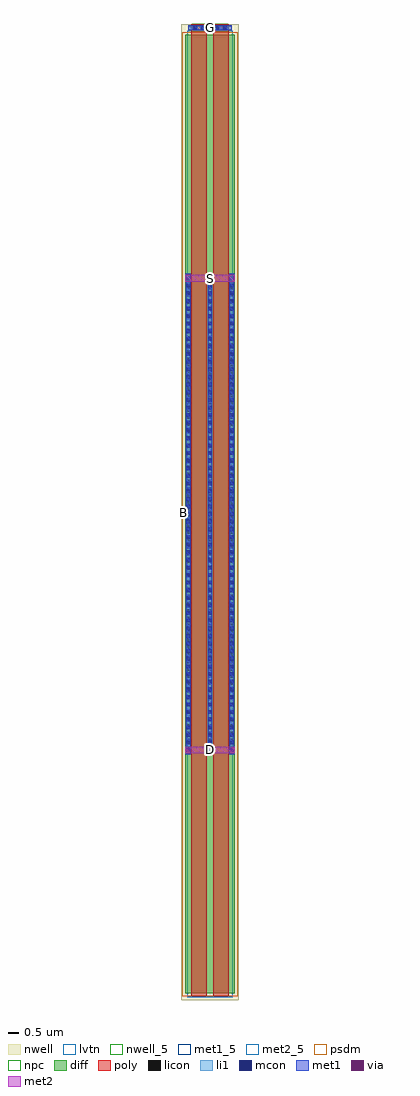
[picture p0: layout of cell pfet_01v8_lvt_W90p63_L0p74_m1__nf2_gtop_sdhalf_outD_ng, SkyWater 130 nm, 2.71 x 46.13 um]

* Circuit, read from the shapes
.subckt pfet_01v8_lvt_W90p63_L0p74_m1__nf2_gtop_sdhalf_outD_ng B D G S
XM1 S G D B sky130_fd_pr__pfet_01v8_lvt w=45.32 l=0.74 m=2
.ends

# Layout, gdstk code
import gdstk
lib = gdstk.Library(unit=1e-6, precision=1e-09)
def R(c, l, rs):  # rectangles x0, y0, x1, y1
    for r in rs: c.add(gdstk.rectangle(r[:2], r[2:], *l))
def A(c, l, x, y, w, h, nx, ny, dx, dy):  # array of equal rectangles
    R(c, l, [(x+i*dx, y+j*dy, x+i*dx+w, y+j*dy+h) for i in range(nx) for j in range(ny)])
nwell_5 = (64, 5)
nwell = (64, 20)
diff = (65, 20)
poly = (66, 20)
licon = (66, 44)
li1 = (67, 20)
mcon = (67, 44)
met1_5 = (68, 5)
met1 = (68, 20)
via = (68, 44)
met2_5 = (69, 5)
met2 = (69, 20)
psdm = (94, 20)
npc = (95, 20)
lvtn = (125, 44)

sky130_fd_pr__pfet_01v8_ = lib.new_cell('sky130_fd_pr__pfet_01v8_lvt_ZVDK42')
R(sky130_fd_pr__pfet_01v8_, nwell, [(-1.355,-23.15,1.355,22.98)])
R(sky130_fd_pr__pfet_01v8_, diff, [(-1.175,-22.84,1.175,22.48)])
R(sky130_fd_pr__pfet_01v8_, poly, [(-0.885,-22.97,-0.145,22.965), (0.145,-22.97,0.885,22.965)])
A(sky130_fd_pr__pfet_01v8_, licon, -1.115, -11.315, 0.17, 0.17, 3, 66, 1.03, 0.34)
R(sky130_fd_pr__pfet_01v8_, licon, [(-0.77,22.715,-0.6,22.885), (-0.43,22.715,-0.26,22.885), (0.26,22.715,0.43,22.885), (0.6,22.715,0.77,22.885)])
A(sky130_fd_pr__pfet_01v8_, li1, -1.115, -11.56, 0.17, 22.76, 3, 1, 1.03, 0)
R(sky130_fd_pr__pfet_01v8_, li1, [(-1.03,22.715,1.03,22.885)])
A(sky130_fd_pr__pfet_01v8_, mcon, -1.115, -11.425, 0.17, 0.17, 3, 63, 1.03, 0.36)
R(sky130_fd_pr__pfet_01v8_, mcon, [(-0.78,22.715,-0.61,22.885), (-0.42,22.715,-0.25,22.885), (0.25,22.715,0.42,22.885), (0.61,22.715,0.78,22.885)])
A(sky130_fd_pr__pfet_01v8_, met1, -1.145, -11.54, 0.23, 22.72, 3, 1, 1.03, 0)
R(sky130_fd_pr__pfet_01v8_, met1, [(-0.865,22.685,-0.165,22.715), (0.165,22.685,0.865,22.715), (-1.03,22.715,1.03,22.885), (-0.865,22.885,-0.165,22.915), (0.165,22.885,0.865,22.915)])
R(sky130_fd_pr__pfet_01v8_, psdm, [(-1.3,-22.965,1.3,22.605)])
R(sky130_fd_pr__pfet_01v8_, npc, [(-0.87,22.615,-0.16,22.985), (0.16,22.615,0.87,22.985)])
R(sky130_fd_pr__pfet_01v8_, lvtn, [(-1.065,-23.02,1.065,22.66)])
sky130_fd_pr__pfet_01v8_.add(gdstk.Label('D0', (-1.03,-0.18), layer=67, texttype=5))
sky130_fd_pr__pfet_01v8_.add(gdstk.Label('G', (0.515,22.8), layer=67, texttype=5))
sky130_fd_pr__pfet_01v8_.add(gdstk.Label('G', (-0.515,22.8), layer=67, texttype=5))
sky130_fd_pr__pfet_01v8_.add(gdstk.Label('S1', (0,-0.18), layer=67, texttype=5))

pfet_01v8_lvt_w90p63_l0p = lib.new_cell('pfet_01v8_lvt_W90p63_L0p74_m1__nf2_gtop_sdhalf_outD_ng')
R(pfet_01v8_lvt_w90p63_l0p, nwell_5, [(0.05,23.015,0.15,23.115)])
R(pfet_01v8_lvt_w90p63_l0p, nwell, [(0.05,23.015,0.15,23.115)])
R(pfet_01v8_lvt_w90p63_l0p, met1_5, [(0.325,45.835,2.385,46.065)])
R(pfet_01v8_lvt_w90p63_l0p, met1, [(0.195,11.66,0.455,11.98), (2.255,11.66,2.515,11.98), (1.225,33.96,1.485,34.28), (0.325,45.835,2.385,46.065)])
R(pfet_01v8_lvt_w90p63_l0p, via, [(0.25,11.745,0.4,11.895), (2.31,11.745,2.46,11.895), (1.28,34.045,1.43,34.195)])
R(pfet_01v8_lvt_w90p63_l0p, met2_5, [(0.19,11.66,2.52,11.98), (0.19,33.96,2.52,34.28)])
R(pfet_01v8_lvt_w90p63_l0p, met2, [(0.19,11.66,2.52,11.98), (0.19,33.96,2.52,34.28)])
pfet_01v8_lvt_w90p63_l0p.add(gdstk.Reference(sky130_fd_pr__pfet_01v8_, (1.355,23.15)))
pfet_01v8_lvt_w90p63_l0p.add(gdstk.Label('S', (1.355,34.12), layer=69, texttype=5))
pfet_01v8_lvt_w90p63_l0p.add(gdstk.Label('D', (1.355,11.82), layer=69, texttype=5))
pfet_01v8_lvt_w90p63_l0p.add(gdstk.Label('G', (1.355,45.95), layer=68, texttype=5))
pfet_01v8_lvt_w90p63_l0p.add(gdstk.Label('B', (0.1,23.065), layer=64, texttype=5))

lib.write_gds('pfet_01v8_lvt_W90p63_L0p74_m1__nf2_gtop_sdhalf_outD_ng.gds')
